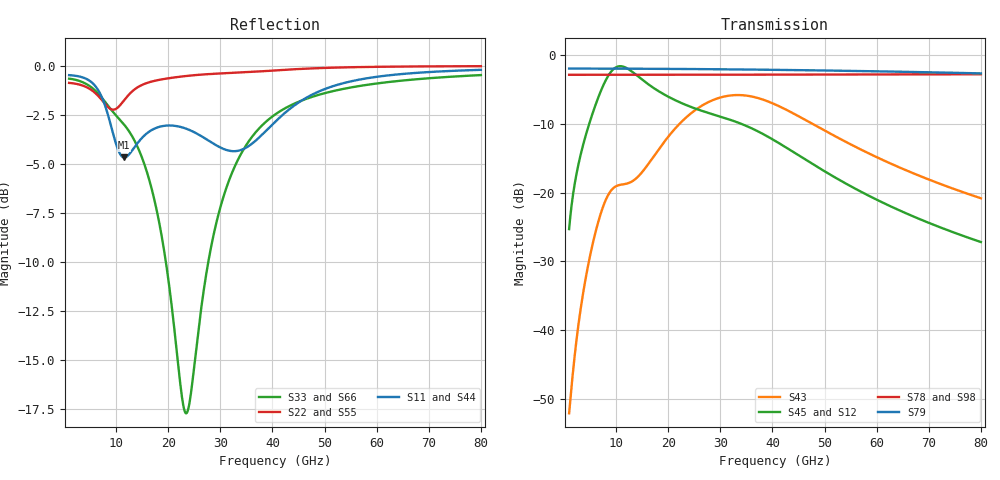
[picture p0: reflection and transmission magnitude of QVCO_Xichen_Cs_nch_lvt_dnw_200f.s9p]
! Touchstone Ver. 1.0
! Number of ports is 9
# Hz	S	RI	R	50.000000
! SCATTERING PARAMETERS  :
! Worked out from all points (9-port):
!   1001 points, 1 GHz to 80 GHz, reference 50 ohm
!   strongest paths, dB at 1 GHz, 20.75 GHz, 40.5 GHz, 60.25 GHz, 80 GHz:
!     S79: -2.0, -2.1, -2.2, -2.4, -2.7
!     S78: -2.9, -2.9, -2.9, -2.9, -2.9
!     S98: -2.9, -3.0, -3.0, -3.1, -3.2
!     S45: -25.3, -6.4, -12.5, -21.1, -27.2
!     S12: -25.3, -6.4, -12.5, -21.1, -27.2
!     S43: -52.0, -11.2, -7.2, -15.0, -20.8
!   lowest |S11| = -4.7 dB at 11.59 GHz (marker M1), VSWR 3.81, Z = 13.9 + j11.7 ohm
!   |S11| at or under -10 dB: nowhere
